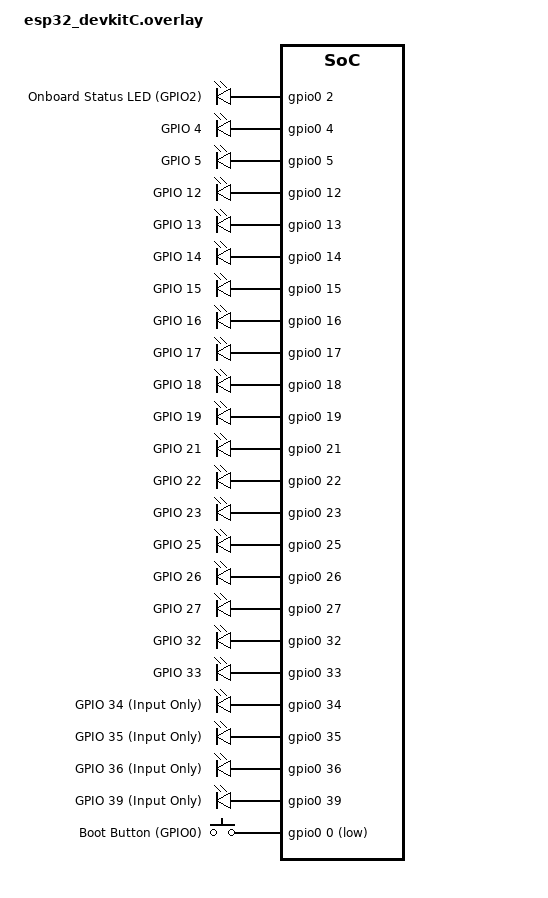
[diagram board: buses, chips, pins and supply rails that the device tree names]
/*
 * Copyright (c) 2024 - 2026 MeshX
 * SPDX-License-Identifier: Apache-2.0
 *
 * Board-specific DeviceTree IO Overlay for ESP32-DevKitC BSP.
 * Defines board-fixed peripherals (LED, Button) and exposes breakout pins
 * generically by GPIO number. Runtime role configuration (relays, switches,
 * PWM, sensors) is driven top-down by MeshX IO firmware and prod_profile.yml.
 */

/ {
	aliases {
		led0 = &status_led;
		sw0 = &boot_button;

		/* Generic GPIO pin aliases */
		gpio4  = &pin_gpio4;
		gpio5  = &pin_gpio5;
		gpio12 = &pin_gpio12;
		gpio13 = &pin_gpio13;
		gpio14 = &pin_gpio14;
		gpio15 = &pin_gpio15;
		gpio16 = &pin_gpio16;
		gpio17 = &pin_gpio17;
		gpio18 = &pin_gpio18;
		gpio19 = &pin_gpio19;
		gpio21 = &pin_gpio21;
		gpio22 = &pin_gpio22;
		gpio23 = &pin_gpio23;
		gpio25 = &pin_gpio25;
		gpio26 = &pin_gpio26;
		gpio27 = &pin_gpio27;
		gpio32 = &pin_gpio32;
		gpio33 = &pin_gpio33;
		gpio34 = &pin_gpio34;
		gpio35 = &pin_gpio35;
		gpio36 = &pin_gpio36;
		gpio39 = &pin_gpio39;
	};

	leds {
		compatible = "gpio-leds";

		status_led: led_0 {
			gpios = <&gpio0 2 GPIO_ACTIVE_HIGH>;
			label = "Onboard Status LED (GPIO2)";
		};

		/* Generic Breakout GPIO Pin Nodes */
		pin_gpio4: gpio_4 {
			gpios = <&gpio0 4 GPIO_ACTIVE_HIGH>;
			label = "GPIO 4";
		};

		pin_gpio5: gpio_5 {
			gpios = <&gpio0 5 GPIO_ACTIVE_HIGH>;
			label = "GPIO 5";
		};

		pin_gpio12: gpio_12 {
			gpios = <&gpio0 12 GPIO_ACTIVE_HIGH>;
			label = "GPIO 12";
		};

		pin_gpio13: gpio_13 {
			gpios = <&gpio0 13 GPIO_ACTIVE_HIGH>;
			label = "GPIO 13";
		};

		pin_gpio14: gpio_14 {
			gpios = <&gpio0 14 GPIO_ACTIVE_HIGH>;
			label = "GPIO 14";
		};

		pin_gpio15: gpio_15 {
			gpios = <&gpio0 15 GPIO_ACTIVE_HIGH>;
			label = "GPIO 15";
		};

		pin_gpio16: gpio_16 {
			gpios = <&gpio0 16 GPIO_ACTIVE_HIGH>;
			label = "GPIO 16";
		};

		pin_gpio17: gpio_17 {
			gpios = <&gpio0 17 GPIO_ACTIVE_HIGH>;
			label = "GPIO 17";
		};

		pin_gpio18: gpio_18 {
			gpios = <&gpio0 18 GPIO_ACTIVE_HIGH>;
			label = "GPIO 18";
		};

		pin_gpio19: gpio_19 {
			gpios = <&gpio0 19 GPIO_ACTIVE_HIGH>;
			label = "GPIO 19";
		};

		pin_gpio21: gpio_21 {
			gpios = <&gpio0 21 GPIO_ACTIVE_HIGH>;
			label = "GPIO 21";
		};

		pin_gpio22: gpio_22 {
			gpios = <&gpio0 22 GPIO_ACTIVE_HIGH>;
			label = "GPIO 22";
		};

		pin_gpio23: gpio_23 {
			gpios = <&gpio0 23 GPIO_ACTIVE_HIGH>;
			label = "GPIO 23";
		};

		pin_gpio25: gpio_25 {
			gpios = <&gpio0 25 GPIO_ACTIVE_HIGH>;
			label = "GPIO 25";
		};

		pin_gpio26: gpio_26 {
			gpios = <&gpio0 26 GPIO_ACTIVE_HIGH>;
			label = "GPIO 26";
		};

		pin_gpio27: gpio_27 {
			gpios = <&gpio0 27 GPIO_ACTIVE_HIGH>;
			label = "GPIO 27";
		};

		pin_gpio32: gpio_32 {
			gpios = <&gpio0 32 GPIO_ACTIVE_HIGH>;
			label = "GPIO 32";
		};

		pin_gpio33: gpio_33 {
			gpios = <&gpio0 33 GPIO_ACTIVE_HIGH>;
			label = "GPIO 33";
		};

		/* Input-Only Pins (GPI) */
		pin_gpio34: gpio_34 {
			gpios = <&gpio0 34 GPIO_ACTIVE_HIGH>;
			label = "GPIO 34 (Input Only)";
		};

		pin_gpio35: gpio_35 {
			gpios = <&gpio0 35 GPIO_ACTIVE_HIGH>;
			label = "GPIO 35 (Input Only)";
		};

		pin_gpio36: gpio_36 {
			gpios = <&gpio0 36 GPIO_ACTIVE_HIGH>;
			label = "GPIO 36 (Input Only)";
		};

		pin_gpio39: gpio_39 {
			gpios = <&gpio0 39 GPIO_ACTIVE_HIGH>;
			label = "GPIO 39 (Input Only)";
		};
	};

	gpio_keys {
		compatible = "gpio-keys";

		boot_button: button_boot {
			label = "Boot Button (GPIO0)";
			gpios = <&gpio0 0 (GPIO_PULL_UP | GPIO_ACTIVE_LOW)>;
		};
	};
};
